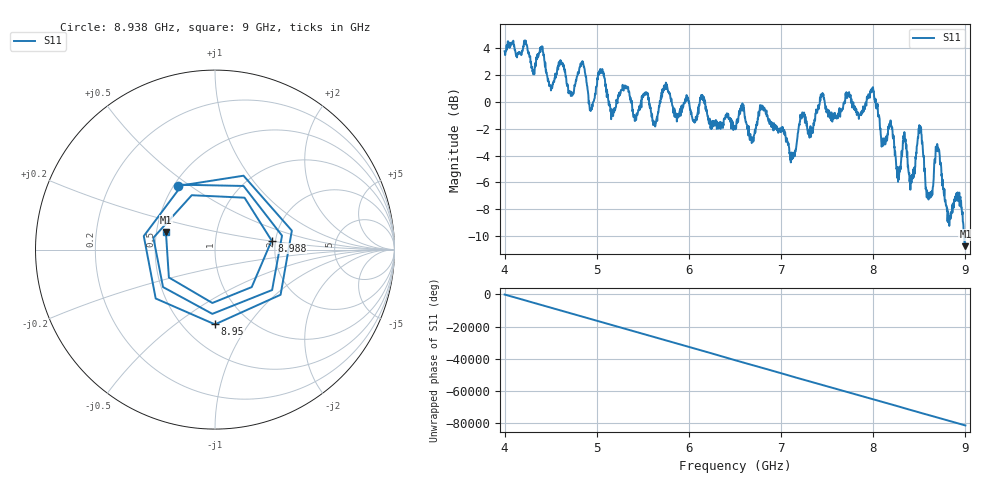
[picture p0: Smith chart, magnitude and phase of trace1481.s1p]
! Created with skrf 1.8.0 (http://scikit-rf.org).
# Hz S RI R 50.0
!freq ReS11 ImS11
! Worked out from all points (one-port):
!   1601 points, 4 GHz to 9 GHz, reference 50 ohm
!   lowest |S11| = -10.7 dB at 9 GHz (marker M1), VSWR 1.82, Z = 28 + j6.04 ohm
!   |S11| at or under -10 dB: 8.988347 GHz to end of sweep
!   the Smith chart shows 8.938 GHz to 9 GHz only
!   S11 on the Smith chart (normalised r, x): 8.938 GHz: 0.53, +0.45; 8.95 GHz: 0.70, -0.71; 8.988 GHz: 1.91, +0.21; 9 GHz: 0.56, +0.12
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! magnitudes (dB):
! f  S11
! 4 GHz  3.7
! 4.5 GHz  1.2
! 4.625 GHz  2.8
! 4.725 GHz  0.7
! 4.847 GHz  3.0
! 4.938 GHz  -0.6
! 5.041 GHz  2.1
! 5.162 GHz  -0.8
! 5.25 GHz  0.5
! 5.875 GHz  -0.9
! 6.5 GHz  -2.0
! 6.684 GHz  -3.0
! 6.797 GHz  -0.4
! 7.125 GHz  -4.2
! 7.231 GHz  -0.8
! 7.75 GHz  0.4
! 7.991 GHz  1.0
! 8.106 GHz  -3.1
! 8.375 GHz  -4.9
! 8.428 GHz  -5.7
! 8.509 GHz  -1.9
! 8.594 GHz  -6.9
! 8.697 GHz  -3.3
! 8.812 GHz  -8.1
! 8.938 GHz  -7.7
! 8.95 GHz  -7.6
! 8.988 GHz  -9.9
! 9 GHz  -10.7
